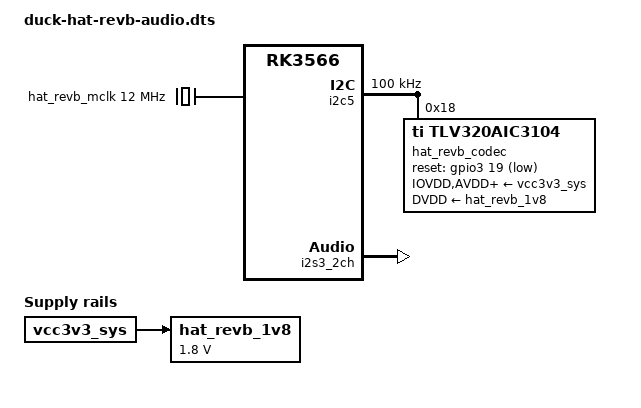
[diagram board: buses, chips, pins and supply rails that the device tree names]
/dts-v1/;
/plugin/;

/ {
    compatible = "radxa,zero3", "rockchip,rk3566";

    fragment@0 {
        target-path = "/";
        __overlay__ {
            hat_revb_mclk: clock-hat-revb {
                compatible = "fixed-clock";
                #clock-cells = <0>;
                clock-frequency = <12000000>;
                clock-output-names = "hat_revb_12mhz";
            };

            hat_revb_1v8: regulator-hat-revb-1v8 {
                compatible = "regulator-fixed";
                regulator-name = "hat_revb_1v8";
                regulator-min-microvolt = <1800000>;
                regulator-max-microvolt = <1800000>;
                regulator-always-on;
                regulator-boot-on;
                vin-supply = <&vcc3v3_sys>;
            };

            sound-duck-hat-revb {
                compatible = "simple-audio-card";
                simple-audio-card,name = "DuckHATB";
                simple-audio-card,format = "i2s";
                simple-audio-card,bitclock-master = <&hat_revb_codec_dai>;
                simple-audio-card,frame-master = <&hat_revb_codec_dai>;
                simple-audio-card,widgets =
                    "Speaker", "HAT Speaker",
                    "Microphone", "HAT Onboard Mic",
                    "Microphone", "HAT External Left",
                    "Microphone", "HAT External Right";
                simple-audio-card,routing =
                    "HAT Speaker", "RLOUT",
                    "MIC2R", "HAT Onboard Mic",
                    "LINE1L", "HAT External Left",
                    "LINE1R", "HAT External Right",
                    "HAT External Left", "Mic Bias",
                    "HAT External Right", "Mic Bias";

                hat_revb_cpu: simple-audio-card,cpu {
                    sound-dai = <&i2s3_2ch>;
                };

                hat_revb_codec_dai: simple-audio-card,codec {
                    sound-dai = <&hat_revb_codec>;
                    clocks = <&hat_revb_mclk>;
                    system-clock-frequency = <12000000>;
                    system-clock-fixed;
                };
            };
        };
    };

    fragment@1 {
        target = <&pinctrl>;
        __overlay__ {
            duck-hat-revb {
                hat_revb_reset: codec-reset {
                    rockchip,pins = <3 19 0 &pcfg_pull_none>;
                };
            };
        };
    };

    fragment@2 {
        target = <&i2c5>;
        __overlay__ {
            #address-cells = <1>;
            #size-cells = <0>;
            status = "okay";
            clock-frequency = <100000>;
            pinctrl-names = "default";
            pinctrl-0 = <&i2c5m0_xfer>;

            hat_revb_codec: codec@18 {
                compatible = "ti,tlv320aic3104";
                reg = <0x18>;
                #sound-dai-cells = <0>;
                pinctrl-names = "default";
                pinctrl-0 = <&hat_revb_reset>;
                reset-gpios = <&gpio3 19 1>;
                IOVDD-supply = <&vcc3v3_sys>;
                AVDD-supply = <&vcc3v3_sys>;
                DRVDD-supply = <&vcc3v3_sys>;
                DVDD-supply = <&hat_revb_1v8>;
                ai3x-micbias-vg = <1>;
            };
        };
    };

    fragment@3 {
        target = <&i2s3_2ch>;
        __overlay__ {
            status = "okay";
            rockchip,trcm-sync-tx-only;
            pinctrl-names = "default";
            pinctrl-0 = <&i2s3m0_sclk &i2s3m0_lrck &i2s3m0_sdi &i2s3m0_sdo>;
        };
    };
};
